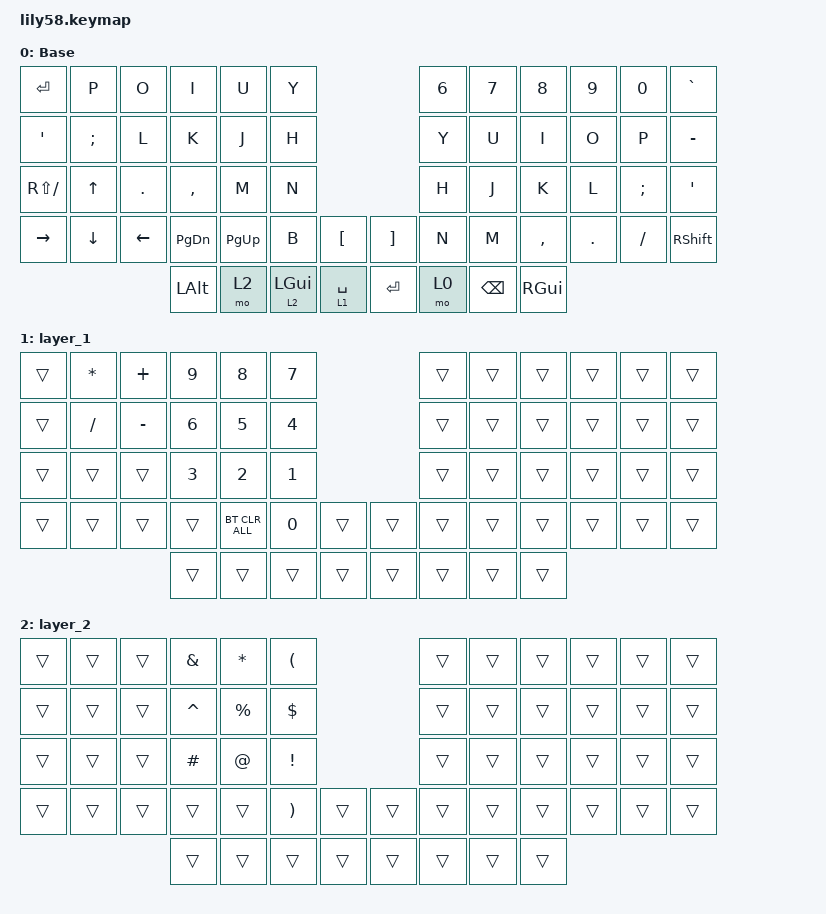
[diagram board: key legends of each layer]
/*
 * Copyright (c) 2020 The ZMK Contributors
 *
 * SPDX-License-Identifier: MIT
 */

#include <behaviors.dtsi>
#include <dt-bindings/zmk/bt.h>
#include <dt-bindings/zmk/keys.h>

/ {
    keymap {
        compatible = "zmk,keymap";

        default_layer {
            // ------------------------------------------------------------------------------------------------------------
            // |  ESC  |  1  |  2  |  3   |  4   |  5   |                   |  6   |  7    |  8    |  9   |   0   |   `   |
            // |  TAB  |  Q  |  W  |  E   |  R   |  T   |                   |  Y   |  U    |  I    |  O   |   P   |   -   |
            // |  CTRL |  A  |  S  |  D   |  F   |  G   |                   |  H   |  J    |  K    |  L   |   ;   |   '   |
            // | SHIFT |  Z  |  X  |  C   |  V   |  B   |   "["  |  |  "]"  |  N   |  M    |  ,    |  .   |   /   | SHIFT |
            //                     | ALT  | GUI  | LOWER|  SPACE |  | ENTER | RAISE| BSPC  | GUI   |

            label = "Base";
            bindings = <
&kp ENTER      &kp P          &kp O       &kp I          &kp U        &kp Y                                    &kp N6  &kp N7    &kp N8     &kp N9   &kp N0    &kp GRAVE
&kp SQT        &kp SEMICOLON  &kp L       &kp K          &kp J        &kp H                                    &kp Y   &kp U     &kp I      &kp O    &kp P     &kp MINUS
&kp RS(SLASH)  &kp UP_ARROW   &kp PERIOD  &kp COMMA      &kp M        &kp N                                    &kp H   &kp J     &kp K      &kp L    &kp SEMI  &kp SQT
&kp RIGHT      &kp DOWN       &kp LEFT    &kp PAGE_DOWN  &kp PAGE_UP  &kp B           &kp LBKT       &kp RBKT  &kp N   &kp M     &kp COMMA  &kp DOT  &kp FSLH  &kp RSHFT
                                          &kp LALT       &mo 2        &lt 2 LEFT_GUI  &lt 1 SPACE    &kp RET   &mo 0   &kp BSPC  &kp RGUI
            >;
        };

        layer_1 {
            bindings = <
&trans  &kp ASTERISK  &kp PLUS   &kp N9        &kp N8          &kp N7                          &trans  &trans  &trans  &trans  &trans  &trans
&trans  &kp SLASH     &kp MINUS  &kp NUMBER_6  &kp N5          &kp NUMBER_4                    &trans  &trans  &trans  &trans  &trans  &trans
&trans  &trans        &trans     &kp NUMBER_3  &kp NUMBER_2    &kp NUMBER_1                    &trans  &trans  &trans  &trans  &trans  &trans
&trans  &trans        &trans     &trans        &bt BT_CLR_ALL  &kp N0        &trans    &trans  &trans  &trans  &trans  &trans  &trans  &trans
                                 &trans        &trans          &trans        &trans    &trans  &trans  &trans  &trans
            >;
        };

        layer_2 {
            bindings = <
&trans  &trans  &trans  &kp AMPERSAND  &kp ASTERISK  &kp LEFT_PARENTHESIS                     &trans  &trans  &trans  &trans  &trans  &trans
&trans  &trans  &trans  &kp CARET      &kp PERCENT   &kp DOLLAR                               &trans  &trans  &trans  &trans  &trans  &trans
&trans  &trans  &trans  &kp HASH       &kp AT_SIGN   &kp EXCLAMATION                          &trans  &trans  &trans  &trans  &trans  &trans
&trans  &trans  &trans  &trans         &trans        &kp RIGHT_PARENTHESIS  &trans    &trans  &trans  &trans  &trans  &trans  &trans  &trans
                        &trans         &trans        &trans                 &trans    &trans  &trans  &trans  &trans
            >;
        };
    };
};
